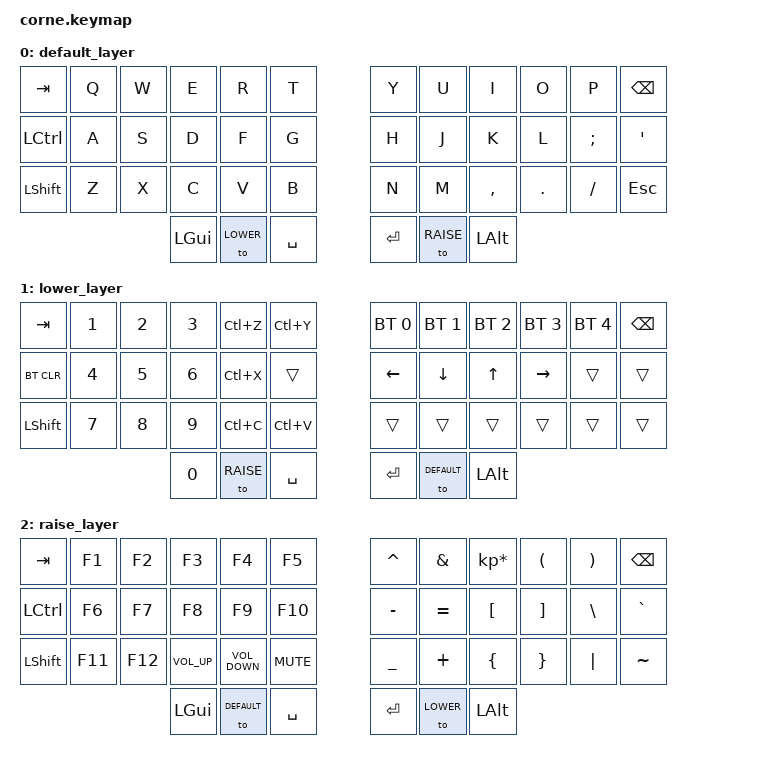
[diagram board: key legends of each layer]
/*
 * Copyright (c) 2020 The ZMK Contributors
 *
 * SPDX-License-Identifier: MIT
 */

#include <behaviors.dtsi>
#include <dt-bindings/zmk/keys.h>
#include <dt-bindings/zmk/bt.h>

#define DEFAULT 0
#define LOWER 1
#define RAISE 2

/ {
        keymap {
                compatible = "zmk,keymap";

                default_layer {
// -----------------------------------------------------------------------------------------
// |  TAB |  Q  |  W  |  E  |  R  |  T  |   |  Y  |  U   |  I  |  O  |  P  | BKSP |
// | CTRL |  A  |  S  |  D  |  F  |  G  |   |  H  |  J   |  K  |  L  |  ;  |  '   |
// | SHFT |  Z  |  X  |  C  |  V  |  B  |   |  N  |  M   |  ,  |  .  |  /  | ESC  |
//                    | GUI | LWR | SPC |   | ENT | RSE  | ALT |
                        bindings = <
   &kp TAB   &kp Q &kp W &kp E &kp R &kp T   &kp Y &kp U  &kp I     &kp O   &kp P    &kp BSPC
   &kp LCTRL &kp A &kp S &kp D &kp F &kp G   &kp H &kp J  &kp K     &kp L   &kp SEMI &kp SQT
   &kp LSHFT &kp Z &kp X &kp C &kp V &kp B   &kp N &kp M  &kp COMMA &kp DOT &kp FSLH &kp ESC
                  &kp LGUI &to LOWER &kp SPACE   &kp RET &to RAISE &kp LALT
                        >;
                };
                lower_layer {
// -----------------------------------------------------------------------------------------
// |  TAB |  1  |  2  |  3  | UDO | RDO |   |  BT1 | BT2 | BT3 | BT4 | BT5  | BKSP |
// | BTCLR| 4  |  5  |  6  | CUT |    |   | LFT | DWN |  UP | RGT |     |      |
// | SHFT | 7   | 8   | 9   | CPY | PST |   |     |     |     |     |     |      |
//                    | 0 | RSE | SPC |   | ENT | DEF | ALT |
                        bindings = <
   &kp TAB    &kp N1       &kp N2       &kp N3       &kp LC(Z)       &kp LC(Y)      &bt BT_SEL 0 &bt BT_SEL 1 &bt BT_SEL 2 &bt BT_SEL 3 &bt BT_SEL 4    &kp BSPC
   &bt BT_CLR  &kp N4   &kp N5   &kp N6 &kp LC(X)    &trans  &kp LEFT &kp DOWN &kp UP &kp RIGHT &trans &trans
   &kp LSHFT  &kp N7       &kp N8       &kp N9       &kp LC(C)       &kp LC(V)         &trans   &trans   &trans &trans    &trans &trans
                                    &kp N0     &to RAISE      &kp SPACE      &kp RET  &to DEFAULT   &kp LALT
                        >;
                };


                raise_layer {
// -----------------------------------------------------------------------------------------
// |  TAB |  F1 |  F2 |  F3 |  F4 |  F5 |   |  ^  |  &  |  *  |  (  |  )  | BKSP |
// | CTRL |  F6 |  F7 |  F8 |  F9 |  F10 |   |  -  |  =  |  [  |  ]  |  \  |  `   |
// | SHFT |  F11 | F12  | VUP | VDN | VMT |   |  _  |  +  |  {  |  }  | "|" |  ~   |
//                    | GUI | DEF | SPC |   | ENT | LWR | ALT |
                        bindings = <
   &kp TAB  &kp F1 &kp F2 &kp F3 &kp F4 &kp F5   &kp CARET &kp AMPS  &kp KP_MULTIPLY &kp LPAR &kp RPAR &kp BSPC
   &kp LCTRL &kp F6   &kp F7 &kp F8   &kp F9   &kp F10      &kp MINUS &kp EQUAL &kp LBKT        &kp RBKT &kp BSLH &kp GRAVE
   &kp LSHFT &kp F11   &kp F12 &kp K_VOL_UP   &kp K_VOLUME_DOWN   &kp K_MUTE      &kp UNDER &kp PLUS  &kp LBRC        &kp RBRC &kp PIPE &kp TILDE
                             &kp LGUI &to DEFAULT   &kp SPACE   &kp RET   &to LOWER    &kp LALT
                        >;
                };
        };
};
